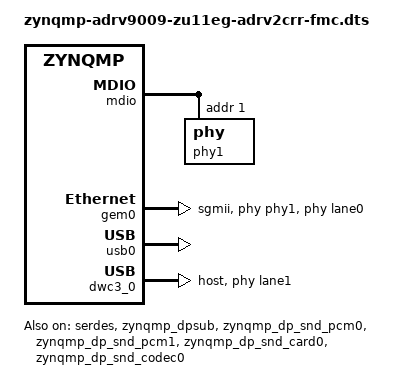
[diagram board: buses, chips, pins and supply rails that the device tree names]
/*
 * dts file for ADRV2CRR-FMC using ADRV9009-ZU11EG System on Module
 *
 * Copyright (C) 2019 Analog Devices Inc.
 *
 * Licensed under the GPL-2.
 */

#include "zynqmp-adrv9009-zu11eg.dts"

/ {
	mdio { /* AR#69132 patch */
		phy1: phy@1{
			device_type = "ethernet-phy";
			reg = <1>;
		};
	};
};

&serdes {
	status = "okay";
};


/*
 * SGMII Ethernet: M1 (PHY1)
 * Using gem0, GTR Lane0
 */

&gem0 {
	status = "okay";
	phy-handle = <&phy1>;
	phy-mode = "sgmii";
	phys = <&lane0 PHY_TYPE_SGMII 0 1 125000000>;
};

/*
 * DisplayPort: P2
 * Using: GTR Lane3, Lane2
 */

&zynqmp_dpsub {
	status = "okay";
	phy-names = "dp-phy0", "dp-phy1";
	phys = <&lane3 PHY_TYPE_DP 0 2 27000000>,
		<&lane2 PHY_TYPE_DP 1 2 27000000>;
};

&zynqmp_dp_snd_pcm0 {
	status = "okay";
};

&zynqmp_dp_snd_pcm1 {
	status = "okay";
};

&zynqmp_dp_snd_card0 {
	status = "okay";
};

&zynqmp_dp_snd_codec0 {
	status = "okay";
};

&xlnx_dpdma {
	status = "okay";
};

/*
 * USB 2.0 & 3.0
 * Using: usb0, dwc3_0 on GTR Lane1
 */

&usb0 {
	status = "okay";
	pinctrl-names = "default";
	pinctrl-0 = <&pinctrl_usb0_default>;
};

&dwc3_0 {
	status = "okay";
	dr_mode = "host";
	phy-names = "usb3-phy";
	//snps,usb3_lpm_capable;
	phys = <&lane1 PHY_TYPE_USB3 0 3 26000000>;
	maximum-speed = "super-speed";
};

